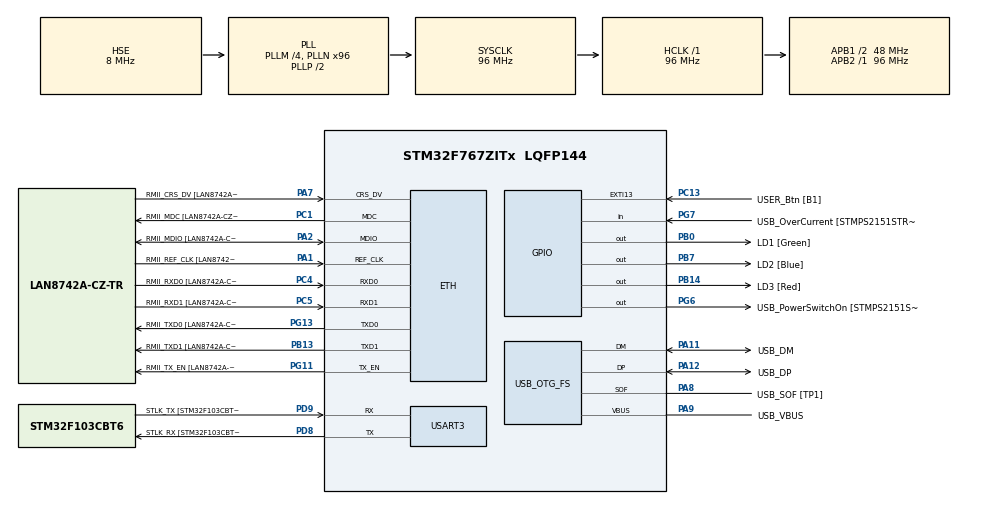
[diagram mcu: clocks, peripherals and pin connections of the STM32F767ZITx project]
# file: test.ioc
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ETH.MediaInterface=HAL_ETH_RMII_MODE
ETH.PHY_Name=LAN8742A_PHY_ADDRESS
ETH.PHY_Value=0
ETH.PhyAddress=0
LWIP.BSP.number=1
LWIP.GATEWAY_ADDRESS=010.000.000.001
LWIP.IP_ADDRESS=010.000.000.004
LWIP.IP_DEBUG=LWIP_DBG_OFF
LWIP.LWIP_DHCP=0
LWIP.NETIF_DEBUG=LWIP_DBG_OFF
LWIP.NETMASK_ADDRESS=255.255.255.000
LWIP.TCPIP_DEBUG=LWIP_DBG_OFF
LWIP.TCP_DEBUG=LWIP_DBG_ON
LWIP.Version=v2.1.2_Cube
LWIP0.BSP.STBoard=false
LWIP0.BSP.api=BSP_COMPONENT_DRIVER
LWIP0.BSP.component=LAN8742
LWIP0.BSP.instance=LAN8742
LWIP0.BSP.name=Driver_PHY
LWIP0.BSP.semaphore=S_LAN8742
LWIP0.BSP.solution=LAN8742
Mcu.Family=STM32F7
Mcu.Name=STM32F767ZITx
Mcu.Package=LQFP144
NVIC.PriorityGroup=NVIC_PRIORITYGROUP_4
PA1.GPIO_Label=RMII_REF_CLK [LAN8742A-CZ-TR_REFCLK0]
PA1.Mode=RMII
PA1.Signal=ETH_REF_CLK
PA10.GPIO_Label=USB_ID
PA10.Signal=USB_OTG_FS_ID
PA11.GPIO_Label=USB_DM
PA11.Mode=Device_Only
PA11.Signal=USB_OTG_FS_DM
PA12.GPIO_Label=USB_DP
PA12.Mode=Device_Only
PA12.Signal=USB_OTG_FS_DP
PA13.GPIO_Label=TMS
PA13.Mode=Serial_Wire
PA13.Signal=SYS_JTMS-SWDIO
PA14.GPIO_Label=TCK
PA14.Mode=Serial_Wire
PA14.Signal=SYS_JTCK-SWCLK
PA2.GPIO_Label=RMII_MDIO [LAN8742A-CZ-TR_MDIO]
PA2.Mode=RMII
PA2.Signal=ETH_MDIO
PA7.GPIO_Label=RMII_CRS_DV [LAN8742A-CZ-TR_CRS_DV]
PA7.Mode=RMII
PA7.Signal=ETH_CRS_DV
PA8.GPIO_Label=USB_SOF [TP1]
PA8.Mode=Activate_SOF_FS
PA8.Signal=USB_OTG_FS_SOF
PA9.GPIO_Label=USB_VBUS
PA9.Mode=Activate_VBUS
PA9.Signal=USB_OTG_FS_VBUS
PB0.GPIO_Label=LD1 [Green]
PB0.Signal=GPIO_Output
PB13.GPIO_Label=RMII_TXD1 [LAN8742A-CZ-TR_TXD1]
PB13.Mode=RMII
PB13.Signal=ETH_TXD1
PB14.GPIO_Label=LD3 [Red]
PB14.Signal=GPIO_Output
PB3.GPIO_Label=SWO
PB3.Signal=SYS_JTDO-SWO
PB7.GPIO_Label=LD2 [Blue]
PB7.Signal=GPIO_Output
PC1.GPIO_Label=RMII_MDC [LAN8742A-CZ-TR_MDC]
PC1.Mode=RMII
PC1.Signal=ETH_MDC
PC13.GPIO_Label=USER_Btn [B1]
PC13.Signal=GPXTI13
PC14/OSC32_IN.Mode=LSE-External-Oscillator
PC14/OSC32_IN.Signal=RCC_OSC32_IN
PC15/OSC32_OUT.Mode=LSE-External-Oscillator
PC15/OSC32_OUT.Signal=RCC_OSC32_OUT
PC4.GPIO_Label=RMII_RXD0 [LAN8742A-CZ-TR_RXD0]
PC4.Mode=RMII
PC4.Signal=ETH_RXD0
PC5.GPIO_Label=RMII_RXD1 [LAN8742A-CZ-TR_RXD1]
PC5.Mode=RMII
PC5.Signal=ETH_RXD1
PD8.GPIO_Label=STLK_RX [STM32F103CBT6_PA3]
PD8.Mode=Asynchronous
PD8.Signal=USART3_TX
PD9.GPIO_Label=STLK_TX [STM32F103CBT6_PA2]
PD9.Mode=Asynchronous
PD9.Signal=USART3_RX
PG11.GPIO_Label=RMII_TX_EN [LAN8742A-CZ-TR_TXEN]
PG11.Mode=RMII
PG11.Signal=ETH_TX_EN
PG13.GPIO_Label=RMII_TXD0 [LAN8742A-CZ-TR_TXD0]
PG13.Mode=RMII
PG13.Signal=ETH_TXD0
PG6.GPIO_Label=USB_PowerSwitchOn [STMPS2151STR_EN]
PG6.Signal=GPIO_Output
PG7.GPIO_Label=USB_OverCurrent [STMPS2151STR_FAULT]
PG7.Signal=GPIO_Input
PH0/OSC_IN.GPIO_Label=MCO [STM32F103CBT6_PA8]
PH0/OSC_IN.Mode=HSE-External-Clock-Source
PH0/OSC_IN.Signal=RCC_OSC_IN
PH1/OSC_OUT.Mode=HSE-External-Clock-Source
PH1/OSC_OUT.Signal=RCC_OSC_OUT
ProjectManager.HeapSize=0x200
ProjectManager.StackSize=0x400
ProjectManager.TargetToolchain=STM32CubeIDE
RCC.48MHZClocksFreq_Value=24000000
RCC.AHBFreq_Value=96000000
RCC.APB1CLKDivider=RCC_HCLK_DIV2
RCC.APB1Freq_Value=48000000
RCC.APB1TimFreq_Value=96000000
RCC.APB2Freq_Value=96000000
RCC.APB2TimFreq_Value=96000000
RCC.CortexFreq_Value=96000000
RCC.HCLKFreq_Value=96000000
RCC.HSE_VALUE=8000000
RCC.HSI_VALUE=16000000
RCC.PLLM=4
RCC.PLLMUL=RCC_PLL_MUL9
RCC.PLLN=96
RCC.PLLQ=4
RCC.PRESCALERUSB=RCC_USBCLKSOURCE_PLL_DIV1_5
RCC.SYSCLKFreq_VALUE=96000000
RCC.SYSCLKSource=RCC_SYSCLKSOURCE_PLLCLK
RCC.SYSCLKSourceVirtual=RCC_SYSCLKSOURCE_PLLCLK
RCC.USBFreq_Value=48000000
RCC.VCOOutputFreq_Value=192000000
USART3.VirtualMode-Asynchronous=VM_ASYNC
USB_OTG_FS.VirtualMode=Device_Only
VP_LWIP_VS_Enabled.Mode=Enabled
board=NUCLEO-F767ZI

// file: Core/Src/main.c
/* USER CODE BEGIN Header */
/**
 ******************************************************************************
 * @file           : main.c
 * @brief          : Main program body
 ******************************************************************************
 * @attention
 *
 * Copyright (c) 2024 STMicroelectronics.
 * All rights reserved.
 *
 * This software is licensed under terms that can be found in the LICENSE file
 * in the root directory of this software component.
 * If no LICENSE file comes with this software, it is provided AS-IS.
 *
 ******************************************************************************
 */
/* USER CODE END Header */
#include "main.h"
#include "lwip.h"

/* USER CODE BEGIN Includes */
#include <stdio.h>
#include <stdbool.h>
#include "tcp.h"
/* USER CODE END Includes */

/* USER CODE BEGIN PTD */
typedef struct client_t {
    struct tcp_pcb *tpcb;
    uint32_t last_msg;
    struct pbuf *p;
} client_t;
/* USER CODE END PTD */

UART_HandleTypeDef huart3;

PCD_HandleTypeDef hpcd_USB_OTG_FS;

void SystemClock_Config(void);
static void MX_GPIO_Init(void);
static void MX_USART3_UART_Init(void);
static void MX_USB_OTG_FS_PCD_Init(void);
/* USER CODE BEGIN PFP */
static err_t tcp_accept_handler(void *arg, struct tcp_pcb *newpcb, err_t err);
static err_t tcp_recv_handler(void *arg, struct tcp_pcb *tpcb, struct pbuf *p,
        err_t err);
static err_t tcp_poll_handler(void *arg, struct tcp_pcb *tpcb);
err_t tcp_disconnect(client_t *client, struct tcp_pcb *tpcb);
void tcp_process_pbufs(client_t *client);
/* USER CODE END PFP */

/* USER CODE BEGIN 0 */

int __io_putchar(int ch) {
    HAL_UART_Transmit(&huart3, (uint8_t*) &ch, 1, 0xFFFF);
    return ch;
}

#define TIMEOUT_ms 3000
static err_t tcp_accept_handler(void *arg, struct tcp_pcb *newpcb, err_t err) {
    client_t *client = mem_malloc(sizeof(client_t));
    client->tpcb = newpcb;
    client->last_msg = HAL_GetTick();
    client->p = NULL;
    tcp_arg(newpcb, client);
    tcp_recv(newpcb, tcp_recv_handler);
    tcp_poll(newpcb, tcp_poll_handler, 0);
    return ERR_OK;
}

static err_t tcp_recv_handler(void *arg, struct tcp_pcb *tpcb, struct pbuf *p,
        err_t err) {
    client_t *client = (client_t*) (arg);
    if (p == NULL) {
        return tcp_disconnect(client, tpcb);
    } else {
        if (err != ERR_OK) {
            client->p = NULL;
            pbuf_free(p);
        }
        client->last_msg = HAL_GetTick();
        client->p = p;
        tcp_process_pbufs(client);
    }
    return ERR_OK;
}

static err_t tcp_poll_handler(void *arg, struct tcp_pcb *tpcb) {
    client_t *client = (client_t*) (arg);
    if (client->p != NULL) {
        tcp_process_pbufs(client);
    }
//    if (HAL_GetTick() - client->last_msg > TIMEOUT_ms) {
//        return tcp_disconnect(client, tpcb);
//    }
    return ERR_OK;
}

err_t tcp_disconnect(client_t *client, struct tcp_pcb *tpcb) {
    if (client->p != NULL) {
        pbuf_free(client->p);
    }
    err_t ret_err = tcp_close(tpcb);
    mem_free(client);
    return ret_err;
}

void tcp_process_pbufs(client_t *client) {
    while (client->p != NULL) {
       //echo
       err_t wr_err = tcp_write(client->tpcb, client->p->payload, client->p->len, TCP_WRITE_FLAG_COPY);
       if (wr_err != ERR_OK) {break;}
       //end echo
       struct pbuf *ptr = client->p;
       client->p = client->p->next;
       if (client->p != NULL) {
           pbuf_ref(client->p);
       }
       pbuf_free(ptr);
   }
}

/* USER CODE END 0 */

int main(void) {

    /* MCU Configuration--------------------------------------------------------*/

    /* Reset of all peripherals, Initializes the Flash interface and the Systick. */
    HAL_Init();

    /* Configure the system clock */
    SystemClock_Config();

    /* Initialize all configured peripherals */
    MX_GPIO_Init();
    MX_USART3_UART_Init();
    MX_USB_OTG_FS_PCD_Init();
    MX_LWIP_Init();
    /* USER CODE BEGIN 2 */
    struct tcp_pcb *tcpb = tcp_new();
    assert(tcpb != NULL);
    err_t err;
    err = tcp_bind(tcpb, IP_ADDR_ANY, 7);
    assert(err == ERR_OK);
    tcpb = tcp_listen(tcpb);
    tcp_accept(tcpb, tcp_accept_handler);
    /* USER CODE END 2 */

    /* Infinite loop */
    while (1) {

        /* USER CODE BEGIN 3 */
        MX_LWIP_Process();
    }
    /* USER CODE END 3 */
}

void SystemClock_Config(void) {
    RCC_OscInitTypeDef RCC_OscInitStruct = { 0 };
    RCC_ClkInitTypeDef RCC_ClkInitStruct = { 0 };

    /** Configure LSE Drive Capability
     */
    HAL_PWR_EnableBkUpAccess();

    /** Configure the main internal regulator output voltage
     */
    __HAL_RCC_PWR_CLK_ENABLE();
    __HAL_PWR_VOLTAGESCALING_CONFIG(PWR_REGULATOR_VOLTAGE_SCALE3);

    /** Initializes the RCC Oscillators according to the specified parameters
     * in the RCC_OscInitTypeDef structure.
     */
    RCC_OscInitStruct.OscillatorType = RCC_OSCILLATORTYPE_HSE;
    RCC_OscInitStruct.HSEState = RCC_HSE_BYPASS;
    RCC_OscInitStruct.PLL.PLLState = RCC_PLL_ON;
    RCC_OscInitStruct.PLL.PLLSource = RCC_PLLSOURCE_HSE;
    RCC_OscInitStruct.PLL.PLLM = 4;
    RCC_OscInitStruct.PLL.PLLN = 96;
    RCC_OscInitStruct.PLL.PLLP = RCC_PLLP_DIV2;
    RCC_OscInitStruct.PLL.PLLQ = 4;
    RCC_OscInitStruct.PLL.PLLR = 2;
    if (HAL_RCC_OscConfig(&RCC_OscInitStruct) != HAL_OK) {
        Error_Handler();
    }

    /** Activate the Over-Drive mode
     */
    if (HAL_PWREx_EnableOverDrive() != HAL_OK) {
        Error_Handler();
    }

    /** Initializes the CPU, AHB and APB buses clocks
     */
    RCC_ClkInitStruct.ClockType = RCC_CLOCKTYPE_HCLK | RCC_CLOCKTYPE_SYSCLK
            | RCC_CLOCKTYPE_PCLK1 | RCC_CLOCKTYPE_PCLK2;
    RCC_ClkInitStruct.SYSCLKSource = RCC_SYSCLKSOURCE_PLLCLK;
    RCC_ClkInitStruct.AHBCLKDivider = RCC_SYSCLK_DIV1;
    RCC_ClkInitStruct.APB1CLKDivider = RCC_HCLK_DIV2;
    RCC_ClkInitStruct.APB2CLKDivider = RCC_HCLK_DIV1;

    if (HAL_RCC_ClockConfig(&RCC_ClkInitStruct, FLASH_LATENCY_3) != HAL_OK) {
        Error_Handler();
    }
}

static void MX_USART3_UART_Init(void) {

    huart3.Instance = USART3;
    huart3.Init.BaudRate = 115200;
    huart3.Init.WordLength = UART_WORDLENGTH_8B;
    huart3.Init.StopBits = UART_STOPBITS_1;
    huart3.Init.Parity = UART_PARITY_NONE;
    huart3.Init.Mode = UART_MODE_TX_RX;
    huart3.Init.HwFlowCtl = UART_HWCONTROL_NONE;
    huart3.Init.OverSampling = UART_OVERSAMPLING_16;
    huart3.Init.OneBitSampling = UART_ONE_BIT_SAMPLE_DISABLE;
    huart3.AdvancedInit.AdvFeatureInit = UART_ADVFEATURE_NO_INIT;
    if (HAL_UART_Init(&huart3) != HAL_OK) {
        Error_Handler();
    }

}

static void MX_USB_OTG_FS_PCD_Init(void) {

    hpcd_USB_OTG_FS.Instance = USB_OTG_FS;
    hpcd_USB_OTG_FS.Init.dev_endpoints = 6;
    hpcd_USB_OTG_FS.Init.speed = PCD_SPEED_FULL;
    hpcd_USB_OTG_FS.Init.dma_enable = DISABLE;
    hpcd_USB_OTG_FS.Init.phy_itface = PCD_PHY_EMBEDDED;
    hpcd_USB_OTG_FS.Init.Sof_enable = ENABLE;
    hpcd_USB_OTG_FS.Init.low_power_enable = DISABLE;
    hpcd_USB_OTG_FS.Init.lpm_enable = DISABLE;
    hpcd_USB_OTG_FS.Init.vbus_sensing_enable = ENABLE;
    hpcd_USB_OTG_FS.Init.use_dedicated_ep1 = DISABLE;
    if (HAL_PCD_Init(&hpcd_USB_OTG_FS) != HAL_OK) {
        Error_Handler();
    }

}

static void MX_GPIO_Init(void) {
    GPIO_InitTypeDef GPIO_InitStruct = { 0 };

    /* GPIO Ports Clock Enable */
    __HAL_RCC_GPIOC_CLK_ENABLE();
    __HAL_RCC_GPIOH_CLK_ENABLE();
    __HAL_RCC_GPIOA_CLK_ENABLE();
    __HAL_RCC_GPIOB_CLK_ENABLE();
    __HAL_RCC_GPIOD_CLK_ENABLE();
    __HAL_RCC_GPIOG_CLK_ENABLE();

    /*Configure GPIO pin Output Level */
    HAL_GPIO_WritePin(GPIOB, LD1_Pin | LD3_Pin | LD2_Pin, GPIO_PIN_RESET);

    /*Configure GPIO pin Output Level */
    HAL_GPIO_WritePin(USB_PowerSwitchOn_GPIO_Port, USB_PowerSwitchOn_Pin,
            GPIO_PIN_RESET);

    /*Configure GPIO pin : USER_Btn_Pin */
    GPIO_InitStruct.Pin = USER_Btn_Pin;
    GPIO_InitStruct.Mode = GPIO_MODE_IT_RISING;
    GPIO_InitStruct.Pull = GPIO_NOPULL;
    HAL_GPIO_Init(USER_Btn_GPIO_Port, &GPIO_InitStruct);

    /*Configure GPIO pins : LD1_Pin LD3_Pin LD2_Pin */
    GPIO_InitStruct.Pin = LD1_Pin | LD3_Pin | LD2_Pin;
    GPIO_InitStruct.Mode = GPIO_MODE_OUTPUT_PP;
    GPIO_InitStruct.Pull = GPIO_NOPULL;
    GPIO_InitStruct.Speed = GPIO_SPEED_FREQ_LOW;
    HAL_GPIO_Init(GPIOB, &GPIO_InitStruct);

    /*Configure GPIO pin : USB_PowerSwitchOn_Pin */
    GPIO_InitStruct.Pin = USB_PowerSwitchOn_Pin;
    GPIO_InitStruct.Mode = GPIO_MODE_OUTPUT_PP;
    GPIO_InitStruct.Pull = GPIO_NOPULL;
    GPIO_InitStruct.Speed = GPIO_SPEED_FREQ_LOW;
    HAL_GPIO_Init(USB_PowerSwitchOn_GPIO_Port, &GPIO_InitStruct);

    /*Configure GPIO pin : USB_OverCurrent_Pin */
    GPIO_InitStruct.Pin = USB_OverCurrent_Pin;
    GPIO_InitStruct.Mode = GPIO_MODE_INPUT;
    GPIO_InitStruct.Pull = GPIO_NOPULL;
    HAL_GPIO_Init(USB_OverCurrent_GPIO_Port, &GPIO_InitStruct);

}

void Error_Handler(void) {
    __disable_irq();
    while (1) {
    }
}
